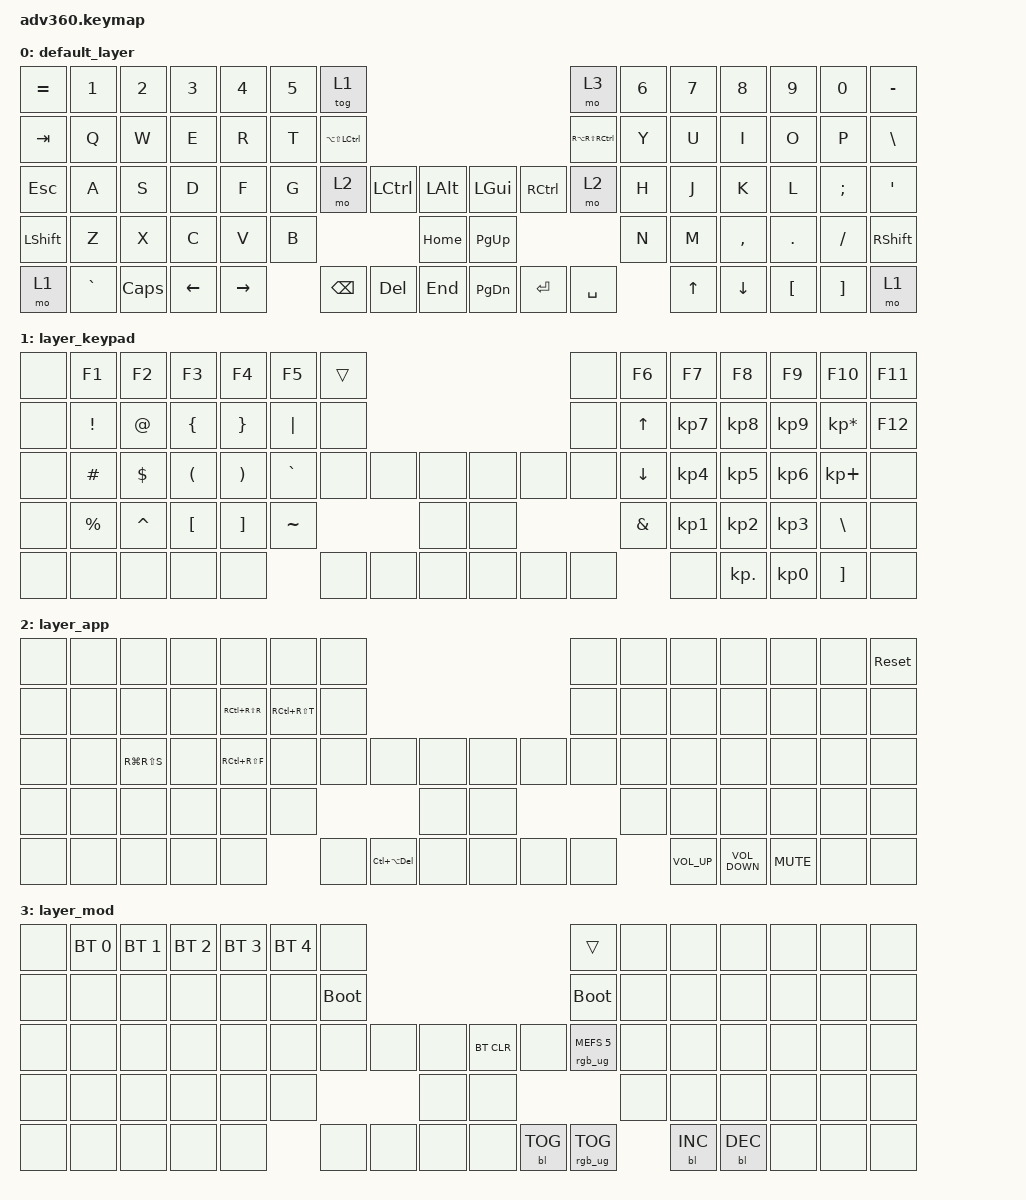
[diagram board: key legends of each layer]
/*
 * Copyright (c) 2020 The ZMK Contributors
 *
 * SPDX-License-Identifier: MIT
 */
/* THIS FILE WAS GENERATED!
 *
 * This file was generated automatically. You may or may not want to
 * edit it directly.
 */

#include <behaviors.dtsi>
#include <dt-bindings/zmk/backlight.h>
#include <dt-bindings/zmk/bt.h>
#include <dt-bindings/zmk/keys.h>
#include <dt-bindings/zmk/rgb.h>

/ {
    behaviors {
        #include "macros.dtsi"

        hm: homerow_mods {
            compatible = "zmk,behavior-hold-tap";
            label = "HOMEROW_MODS";
            #binding-cells = <2>;
            tapping-term-ms = <200>;
            quick_tap_ms = <175>;
            flavor = "tap-preferred";
            bindings =
                <&kp>,
                <&kp>;
        };
        kp_mo: kp_mo {
            compatible = "zmk,behavior-hold-tap";
            label = "KP_MO";
            bindings =
                <&kp>,
                <&mo>;

            #binding-cells = <2>;
            tapping-term-ms = <200>;
            flavor = "tap-preferred";
        };
    };

    keymap {
        compatible = "zmk,keymap";

        default_layer {
            bindings = <
&kp EQUAL  &kp N1     &kp N2    &kp N3    &kp N4     &kp N5  &tog 1                                                                    &mo 3                      &kp N6  &kp N7  &kp N8     &kp N9    &kp N0    &kp MINUS
&kp TAB    &kp Q      &kp W     &kp E     &kp R      &kp T   &kp LA(LS(LEFT_CONTROL))                                                  &kp RA(RS(RIGHT_CONTROL))  &kp Y   &kp U   &kp I      &kp O     &kp P     &kp BSLH
&kp ESC    &kp A      &kp S     &kp D     &kp F      &kp G   &mo 2                     &kp LCTRL   &kp LALT      &kp LGUI   &kp RCTRL  &mo 2                      &kp H   &kp J   &kp K      &kp L     &kp SEMI  &kp SQT
&kp LSHFT  &kp Z      &kp X     &kp C     &kp V      &kp B                                         &kp HOME      &kp PG_UP                                        &kp N   &kp M   &kp COMMA  &kp DOT   &kp FSLH  &kp RSHFT
&mo 1      &kp GRAVE  &kp CAPS  &kp LEFT  &kp RIGHT          &kp BSPC                  &kp DELETE  &kp END       &kp PG_DN  &kp ENTER  &kp SPACE                          &kp UP  &kp DOWN   &kp LBKT  &kp RBKT  &mo 1
            >;
        };

        layer_keypad {
            bindings = <
&none  &kp F1           &kp F2      &kp F3                &kp F4                 &kp F5     &trans                                  &none  &kp F6          &kp F7     &kp F8      &kp F9     &kp F10          &kp F11
&none  &kp EXCLAMATION  &kp AT      &kp LEFT_BRACE        &kp RIGHT_BRACE        &kp PIPE   &none                                   &none  &kp UP_ARROW    &kp KP_N7  &kp KP_N8   &kp KP_N9  &kp KP_MULTIPLY  &kp F12
&none  &kp HASH         &kp DOLLAR  &kp LEFT_PARENTHESIS  &kp RIGHT_PARENTHESIS  &kp GRAVE  &none   &none  &none      &none  &none  &none  &kp DOWN_ARROW  &kp KP_N4  &kp KP_N5   &kp KP_N6  &kp KP_PLUS      &none
&none  &kp PERCENT      &kp CARET   &kp LEFT_BRACKET      &kp RIGHT_BRACKET      &kp TILDE                 &none      &none                &kp AMPERSAND   &kp KP_N1  &kp KP_N2   &kp KP_N3  &kp BACKSLASH    &none
&none  &none            &none       &none                 &none                             &none   &none  &none      &none  &none  &none                  &none      &kp KP_DOT  &kp KP_N0  &kp RBKT         &none
            >;
        };

        layer_app {
            bindings = <
&none  &none  &none          &none  &none          &none          &none                                               &none  &none  &none            &none              &none       &none  &sys_reset
&none  &none  &none          &none  &kp RC(RS(R))  &kp RC(RS(T))  &none                                               &none  &none  &none            &none              &none       &none  &none
&none  &none  &kp RG(RS(S))  &none  &kp RC(RS(F))  &none          &none  &none               &none      &none  &none  &none  &none  &none            &none              &none       &none  &none
&none  &none  &none          &none  &none          &none                                     &none      &none                &none  &none            &none              &none       &none  &none
&none  &none  &none          &none  &none                         &none  &kp LC(LA(DELETE))  &none      &none  &none  &none         &kp C_VOLUME_UP  &kp C_VOLUME_DOWN  &kp C_MUTE  &none  &none
            >;
        };

        layer_mod {
            bindings = <
&none  &bt BT_SEL 0  &bt BT_SEL 1  &bt BT_SEL 2  &bt BT_SEL 3  &bt BT_SEL 4  &none                                                  &trans                  &none  &none       &none       &none  &none  &none
&none  &none         &none         &none         &none         &none         &bootloader                                            &bootloader             &none  &none       &none       &none  &none  &none
&none  &none         &none         &none         &none         &none         &none        &none  &none      &bt BT_CLR  &none       &rgb_ug RGB_MEFS_CMD 5  &none  &none       &none       &none  &none  &none
&none  &none         &none         &none         &none         &none                             &none      &none                                           &none  &none       &none       &none  &none  &none
&none  &none         &none         &none         &none                       &none        &none  &none      &none       &bl BL_TOG  &rgb_ug RGB_TOG                &bl BL_INC  &bl BL_DEC  &none  &none  &none
            >;
        };
    };
};
